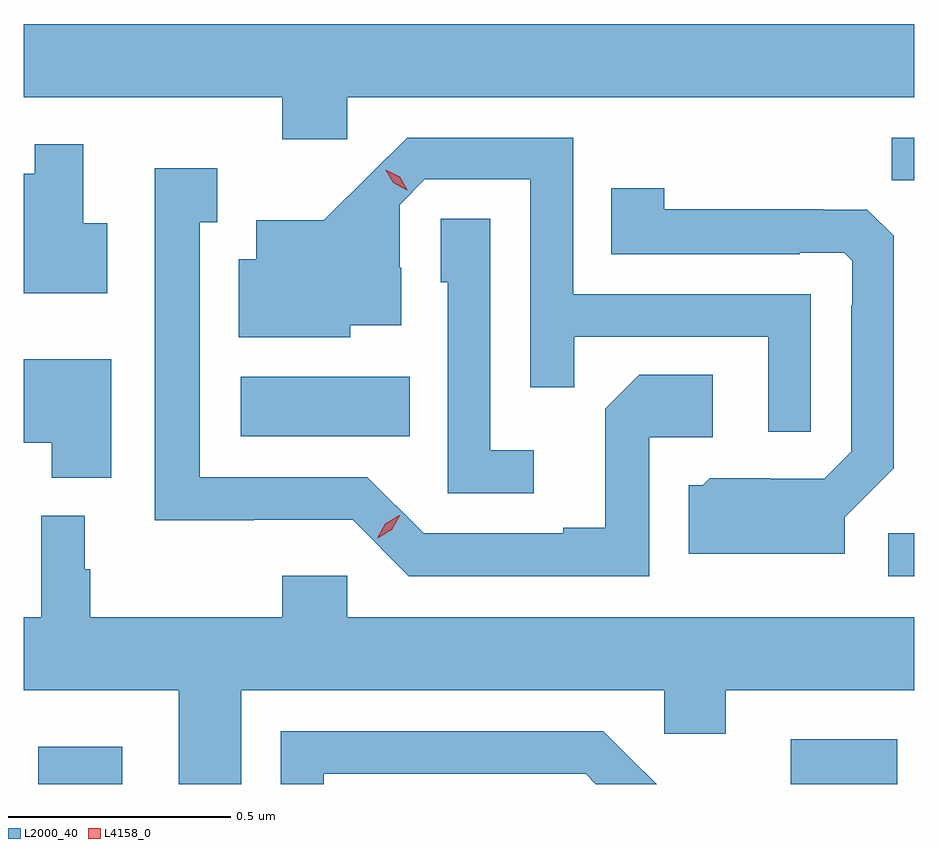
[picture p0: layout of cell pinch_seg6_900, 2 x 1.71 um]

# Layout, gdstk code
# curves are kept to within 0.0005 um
import gdstk
lib = gdstk.Library(unit=1e-6, precision=1e-09)
def R(c, l, rs):  # rectangles x0, y0, x1, y1
    for r in rs: c.add(gdstk.rectangle(r[:2], r[2:], *l))
def P(c, l, *ps):  # polygons
    for p in ps: c.add(gdstk.Polygon(p, *l))
L2000_40 = (2000, 40)
L4158_0 = (4158, 0)

pinch_seg6_900 = lib.new_cell('pinch_seg6_900')
R(pinch_seg6_900, L2000_40, [(138.919,989.749,139.108,989.833), (140.61,989.749,140.849,989.85), (140.829,990.216,140.887,990.312), (139.374,990.53,139.754,990.664), (140.836,991.105,140.887,991.2)])
P(pinch_seg6_900, L2000_40, [(139.614,991.292),(140.887,991.292),(140.887,991.456),(138.887,991.456),(138.887,991.292),(139.468,991.292),(139.468,991.197),(139.614,991.197)],
  [(140.655,990.849),(140.121,990.849),(140.121,991.2),(139.748,991.2),(139.561,991.015),(139.409,991.015),(139.409,990.928),(139.37,990.928),(139.37,990.752),(139.62,990.752),(139.62,990.779),(139.735,990.779),(139.735,990.908),(139.731,990.908),(139.731,991.05),(139.788,991.107),(140.025,991.107),(140.025,990.64),(140.123,990.64),(140.123,990.753),(140.559,990.753),(140.559,990.54),(140.655,990.54)],
  [(139.075,991.009),(139.021,991.009),(139.021,991.186),(138.912,991.186),(138.912,991.12),(138.887,991.12),(138.887,990.851),(139.075,990.851)],
  [(140.292,990.528),(140.434,990.528),(140.434,990.668),(140.269,990.668),(140.193,990.592),(140.193,990.325),(140.099,990.325),(140.099,990.312),(139.785,990.312),(139.659,990.438),(139.282,990.438),(139.282,991.011),(139.321,991.011),(139.321,991.132),(139.181,991.132),(139.181,990.341),(139.404,990.341),(139.404,990.342),(139.626,990.342),(139.752,990.216),(140.292,990.216)],
  [(140.731,990.348),(140.841,990.458),(140.841,990.98),(140.782,991.039),(140.681,991.039),(140.681,991.04),(140.325,991.04),(140.325,991.087),(140.206,991.087),(140.206,990.939),(140.63,990.939),(140.63,990.942),(140.73,990.942),(140.748,990.924),(140.748,990.824),(140.745,990.824),(140.745,990.495),(140.685,990.435),(140.562,990.435),(140.562,990.436),(140.428,990.436),(140.412,990.42),(140.381,990.42),(140.381,990.266),(140.731,990.266)],
  [(140.032,990.499),(139.935,990.499),(139.935,991.019),(139.824,991.019),(139.824,990.876),(139.839,990.876),(139.839,990.402),(140.032,990.402)],
  [(139.084,990.703),(138.887,990.703),(138.887,990.515),(138.95,990.515),(138.95,990.437),(139.084,990.437)],
  [(139.375,989.96),(140.325,989.96),(140.325,989.862),(140.464,989.862),(140.464,989.96),(140.887,989.96),(140.887,990.124),(139.614,990.124),(139.614,990.217),(139.468,990.217),(139.468,990.124),(139.036,990.124),(139.036,990.231),(139.024,990.231),(139.024,990.352),(138.926,990.352),(138.926,990.124),(138.887,990.124),(138.887,989.96),(139.235,989.96),(139.235,989.749),(139.375,989.749)],
  [(139.561,989.772),(140.149,989.772),(140.172,989.749),(140.309,989.749),(140.28,989.778),(140.279,989.777),(140.188,989.868),(139.464,989.868),(139.464,989.749),(139.561,989.749)])
P(pinch_seg6_900, L4158_0, [(139.747,991.083),(139.717,991.099),(139.7,991.128),(139.7,991.129),(139.7,991.129),(139.731,991.113),(139.748,991.084),(139.748,991.083)],
  [(139.681,990.301),(139.681,990.301),(139.699,990.334),(139.73,990.353),(139.731,990.353),(139.731,990.352),(139.713,990.32),(139.682,990.301)])

lib.write_gds('pinch_seg6_900.gds')
